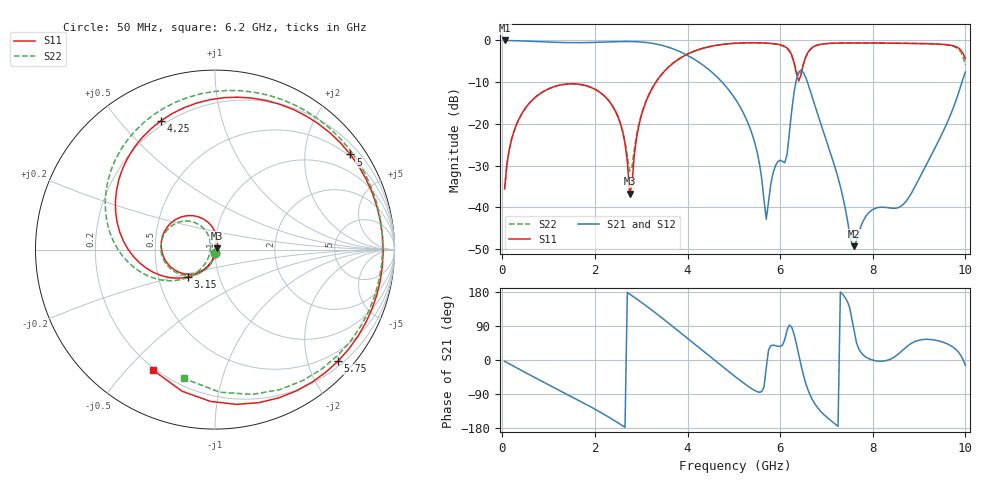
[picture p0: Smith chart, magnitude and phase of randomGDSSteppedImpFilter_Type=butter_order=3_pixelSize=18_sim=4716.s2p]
! freq	dB(S11)	phase(S11)	dB(S12)	phase(S12)
!  dB(S21)	phase(S21)	dB(S22)	phase(S22)
!S-par simulation data
#  GHz  S  DB  R 50
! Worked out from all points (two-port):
!   200 points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, 50 MHz to 10 GHz, reference 50 ohm
!   highest |S21| = -0.01 dB at 50 MHz (marker M1); lowest = -49.3 dB at 7.6 GHz (marker M2)
!   |S21| within 3 dB of the highest: start of sweep to 3.897 GHz
!   lowest |S11| = -36.7 dB at 2.75 GHz (marker M3), VSWR 1.03, Z = 51.3 + j0.741 ohm
!   |S11| at or under -10 dB: start of sweep to 3.319 GHz
!   |S22| runs from -35.6 to -0.6 dB; largest |S21 - S12| = 0
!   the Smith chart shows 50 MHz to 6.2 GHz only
!   S11 on the Smith chart (normalised r, x): 50 MHz: 1.00, -0.03; 3.15 GHz: 0.71, -0.23; 4.25 GHz: 0.18, +0.65; 5 GHz: 0.44, +3.10; 5.75 GHz: 0.30, -2.56; 6.2 GHz: 0.19, -0.59
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0.05  -35.60 -92.8  -0.01 -3.4  -0.01 -3.4  -35.60 -92.6
0.5  -16.23 -124.5  -0.15 -33.2  -0.15 -33.2  -16.23 -122.7
1.75  -10.69 152.8  -0.53 -113.0  -0.53 -113.0  -10.69 160.6
2.5  -18.37 95.4  -0.29 -165.9  -0.29 -165.9  -18.28 116.9
2.75  -36.71 29.6  -0.26 174.0  -0.26 174.0  -31.34 157.2
3.15  -13.42 -134.4  -0.55 139.0  -0.55 139.0  -13.31 -134.2
3.4  -8.73 -159.8  -1.05 115.6  -1.05 115.6  -8.67 -153.9
4.25  -2.17 112.6  -5.26 32.4  -5.26 32.4  -2.14 128.6
5  -0.70 35.1  -13.53 -41.0  -13.53 -41.0  -0.69 56.5
5.05  -0.67 30.0  -14.36 -45.8  -14.36 -45.8  -0.65 51.6
5.5  -0.57 -15.7  -26.63 -83.4  -26.63 -83.4  -0.57 6.2
5.7  -0.64 -36.7  -42.84 -20.8  -42.84 -20.8  -0.66 -15.6
5.75  -0.67 -42.2  -38.49 26.7  -38.49 26.7  -0.70 -21.5
6.2  -2.44 -117.3  -22.12 92.2  -22.12 92.2  -2.64 -103.7
6.3  -5.28 -161.3  -12.46 68.0  -12.46 68.0  -5.29 -150.8
6.45  -8.29 60.4  -7.14 -13.2  -7.14 -13.2  -7.52 89.6
6.7  -1.64 -37.9  -13.83 -105.6  -13.83 -105.6  -1.71 -9.4
7.05  -0.72 -81.8  -25.71 -155.4  -25.71 -155.4  -0.73 -57.2
7.6  -0.61 -119.7  -49.31 74.1  -49.31 74.1  -0.59 -97.3
8.35  -0.66 -158.3  -40.12 0.7  -40.12 0.7  -0.63 -136.1
9.5  -0.94 147.2  -22.29 47.7  -22.29 47.7  -0.95 171.7
10  -4.36 117.1  -7.58 -14.3  -7.58 -14.3  -5.92 137.0
